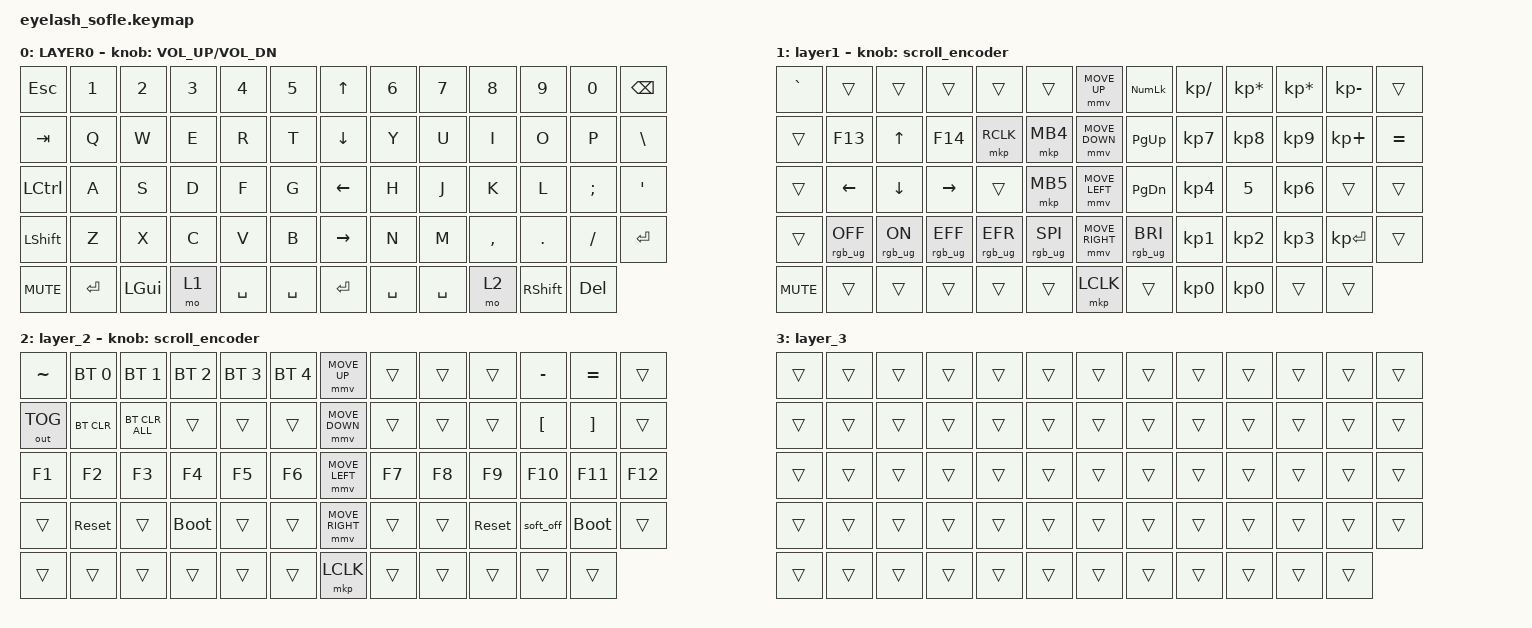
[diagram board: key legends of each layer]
#define ZMK_POINTING_DEFAULT_MOVE_VAL 1200  // 600
#define ZMK_POINTING_DEFAULT_SCRL_VAL 25   // 10

#include <input/processors.dtsi>
#include <zephyr/dt-bindings/input/input-event-codes.h>
#include <behaviors.dtsi>
#include <dt-bindings/zmk/bt.h>
#include <dt-bindings/zmk/keys.h>
#include <dt-bindings/zmk/outputs.h>
#include <dt-bindings/zmk/pointing.h>
#include <dt-bindings/zmk/rgb.h>

&mmv_input_listener { input-processors = <&zip_xy_scaler 2 1>; };

&msc_input_listener { input-processors = <&zip_scroll_scaler 2 1>; };

&msc {
    acceleration-exponent = <1>;      // 0
    time-to-max-speed-ms = <100>;       // 300
    delay-ms = <0>;                   // 0
};

&mmv {
    time-to-max-speed-ms = <500>;
    acceleration-exponent = <1>;
    trigger-period-ms = <16>;
};

&soft_off { hold-time-ms = <2000>; };

/ {
    scroll_encoder: scroll_encoder {
        compatible = "zmk,behavior-sensor-rotate";
        #sensor-binding-cells = <0>;
        bindings = <&msc SCRL_DOWN>, <&msc SCRL_UP>;

        tap-ms = <100>;
    };

    behaviors {
    };

    combos {
        compatible = "zmk,combos";

        softoff {
            bindings = <&soft_off>;
            key-positions = <14 28 40>;
        };
    };

    macros {
        Macro1: Macro1 {
            compatible = "zmk,behavior-macro";
            #binding-cells = <0>;
            bindings = <&none>, <&macro_press>;

            label = "MACRO1";
        };
    };

    keymap {
        compatible = "zmk,keymap";

        layer0 {
            bindings = <
&kp ESC           &kp N1     &kp N2        &kp N3  &kp N4     &kp N5       &kp UP_ARROW     &kp N6     &kp N7     &kp N8     &kp N9           &kp N0      &kp BACKSPACE
&kp TAB           &kp Q      &kp W         &kp E   &kp R      &kp T        &kp DOWN_ARROW   &kp Y      &kp U      &kp I      &kp O            &kp P       &kp BSLH
&kp LEFT_CONTROL  &kp A      &kp S         &kp D   &kp F      &kp G        &kp LEFT_ARROW   &kp H      &kp J      &kp K      &kp L            &kp SEMI    &kp APOS
&kp LSHFT         &kp Z      &kp X         &kp C   &kp V      &kp B        &kp RIGHT_ARROW  &kp N      &kp M      &kp COMMA  &kp DOT          &kp FSLH    &kp ENTER
&kp C_MUTE        &kp ENTER  &kp LEFT_GUI  &mo 1   &kp SPACE  &kp SPACE    &kp ENTER        &kp SPACE  &kp SPACE  &mo 2      &kp RIGHT_SHIFT  &kp DELETE
            >;

            sensor-bindings = <&inc_dec_kp C_VOLUME_UP C_VOL_DN>;
            display-name = "LAYER0";
        };

        layer_1 {
            bindings = <
&kp GRAVE   &trans           &trans          &trans           &trans           &trans             &mmv MOVE_UP     &kp KP_NUMLOCK   &kp KP_DIVIDE    &kp KP_MULTIPLY  &kp KP_MULTIPLY  &kp KP_MINUS  &trans
&trans      &kp F13          &kp UP_ARROW    &kp F14          &mkp RCLK        &mkp MB4           &mmv MOVE_DOWN   &kp PG_UP        &kp KP_N7        &kp KP_NUMBER_8  &kp KP_NUMBER_9  &kp KP_PLUS   &kp EQUAL
&trans      &kp LEFT         &kp DOWN_ARROW  &kp RIGHT        &trans           &mkp MB5           &mmv MOVE_LEFT   &kp PG_DN        &kp KP_NUMBER_4  &kp N5           &kp KP_N6        &trans        &trans
&trans      &rgb_ug RGB_OFF  &rgb_ug RGB_ON  &rgb_ug RGB_EFF  &rgb_ug RGB_EFR  &rgb_ug RGB_SPI    &mmv MOVE_RIGHT  &rgb_ug RGB_BRI  &kp KP_NUMBER_1  &kp KP_NUMBER_2  &kp KP_NUMBER_3  &kp KP_ENTER  &trans
&kp C_MUTE  &trans           &trans          &trans           &trans           &trans             &mkp LCLK        &trans           &kp KP_NUMBER_0  &kp KP_NUMBER_0  &trans           &trans
            >;

            display-name = "layer1";
            sensor-bindings = <&scroll_encoder>;
        };

        layer_2 {
            bindings = <
&kp TILDE     &bt BT_SEL 0  &bt BT_SEL 1    &bt BT_SEL 2  &bt BT_SEL 3  &bt BT_SEL 4    &mmv MOVE_UP     &trans  &trans  &trans      &kp MINUS         &kp EQUAL          &trans
&out OUT_TOG  &bt BT_CLR    &bt BT_CLR_ALL  &trans        &trans        &trans          &mmv MOVE_DOWN   &trans  &trans  &trans      &kp LEFT_BRACKET  &kp RIGHT_BRACKET  &trans
&kp F1        &kp F2        &kp F3          &kp F4        &kp F5        &kp F6          &mmv MOVE_LEFT   &kp F7  &kp F8  &kp F9      &kp F10           &kp F11            &kp F12
&trans        &sys_reset    &trans          &bootloader   &trans        &trans          &mmv MOVE_RIGHT  &trans  &trans  &sys_reset  &soft_off         &bootloader        &trans
&trans        &trans        &trans          &trans        &trans        &trans          &mkp LCLK        &trans  &trans  &trans      &trans            &trans
            >;

            sensor-bindings = <&scroll_encoder>;
        };

        layer_3 {
            bindings = <
&trans  &trans  &trans  &trans  &trans  &trans    &trans  &trans  &trans  &trans  &trans  &trans  &trans
&trans  &trans  &trans  &trans  &trans  &trans    &trans  &trans  &trans  &trans  &trans  &trans  &trans
&trans  &trans  &trans  &trans  &trans  &trans    &trans  &trans  &trans  &trans  &trans  &trans  &trans
&trans  &trans  &trans  &trans  &trans  &trans    &trans  &trans  &trans  &trans  &trans  &trans  &trans
&trans  &trans  &trans  &trans  &trans  &trans    &trans  &trans  &trans  &trans  &trans  &trans
            >;
        };
    };
};
